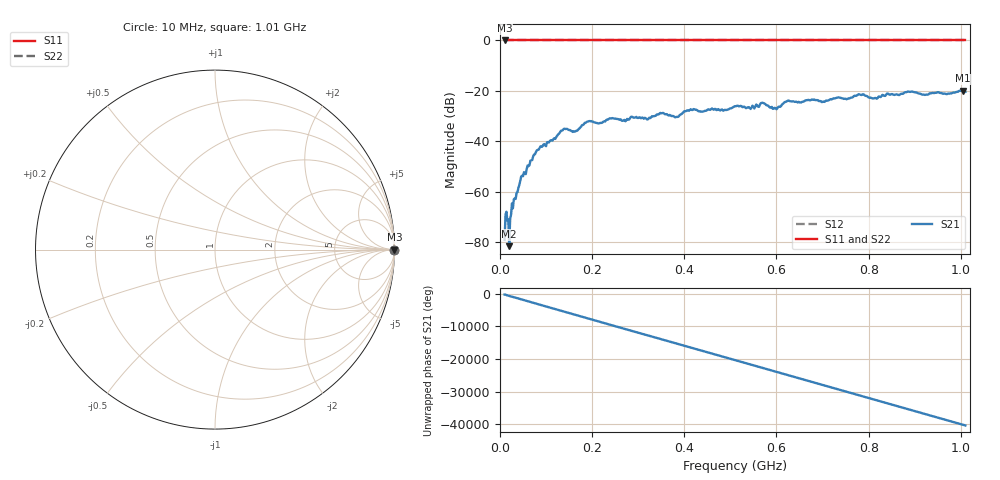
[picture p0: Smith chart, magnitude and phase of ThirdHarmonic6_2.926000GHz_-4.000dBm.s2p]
! 8/17/2025 8:09:22 AM
! C:\ANRITSUVNA\TEMP\TEMP.S2P
! CHANNEL.1
! TR.MEASUREMENT
! RAW.DATA
! RF.CORRECTION.OFF
! AVERAGING.OFF
! IF.BANDWIDTH: 5KHZ
! SWEEPTYPE:  FREQ.SWEEP(Linear)
! Reference Plane Port Info
! PORT:  PORT1  PORT2
! DISTANCE:  0  m  0  m
! TIME:  0  s  0  s
! PHASE.OFFSET:  0  deg.  0  deg.
! LOSS:  0  dB  0  dB
! REF.LOSS:  0  dB  0  dB
! REF.FREQ:  0  Hz  0  Hz
! Power Info
! POWER:  -20  dBm  -20  dBm
! EFF.POWER:  -20  dBm  -20  dBm
! SOURCE.ATTEN:  0  dB  0  dB
! TEST.ATTEN:  0  dB  0  dB
# GHZ S RI R 50.0
! FREQ.GHZ  S11RE  S11IM  S21RE  S21IM  S12RE  S12IM  S22RE  S22IM
!; PortSelection: Port_12
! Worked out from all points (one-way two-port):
!   501 points, 10 MHz to 1.01 GHz, reference 50 ohm
!   highest |S21| = -19.91 dB at 1.004 GHz (marker M1); lowest = -81.6 dB at 20 MHz (marker M2)
!   lowest |S11| = 0.0 dB at 10 MHz (marker M3)
!   |S11| at or under -10 dB: nowhere
!   |S22| runs from 0.0 to 0.0 dB; largest |S21 - S12| = 1.1
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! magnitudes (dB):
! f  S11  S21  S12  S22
! 10 MHz  0.0  -79.1  0.0  0.0
! 14 MHz  0.0  -68.0  0.0  0.0
! 20 MHz  0.0  -81.6  0.0  0.0
! 24 MHz  0.0  -69.1  0.0  0.0
! 28 MHz  0.0  -66.6  0.0  0.0
! 44 MHz  0.0  -55.6  0.0  0.0
! 78 MHz  0.0  -44.3  0.0  0.0
! 136 MHz  0.0  -35.6  0.0  0.0
! 162 MHz  0.0  -36.1  0.0  0.0
! 178 MHz  0.0  -33.6  0.0  0.0
! 194 MHz  0.0  -32.0  0.0  0.0
! 344 MHz  0.0  -29.4  0.0  0.0
! 384 MHz  0.0  -30.3  0.0  0.0
! 410 MHz  0.0  -27.9  0.0  0.0
! 510 MHz  0.0  -26.1  0.0  0.0
! 570 MHz  0.0  -24.7  0.0  0.0
! 596 MHz  0.0  -26.7  0.0  0.0
! 624 MHz  0.0  -24.0  0.0  0.0
! 678 MHz  0.0  -23.4  0.0  0.0
! 844 MHz  0.0  -21.4  0.0  0.0
! 1.004 GHz  0.0  -19.9  0.0  0.0
! 1.01 GHz  0.0  -20.4  0.0  0.0
